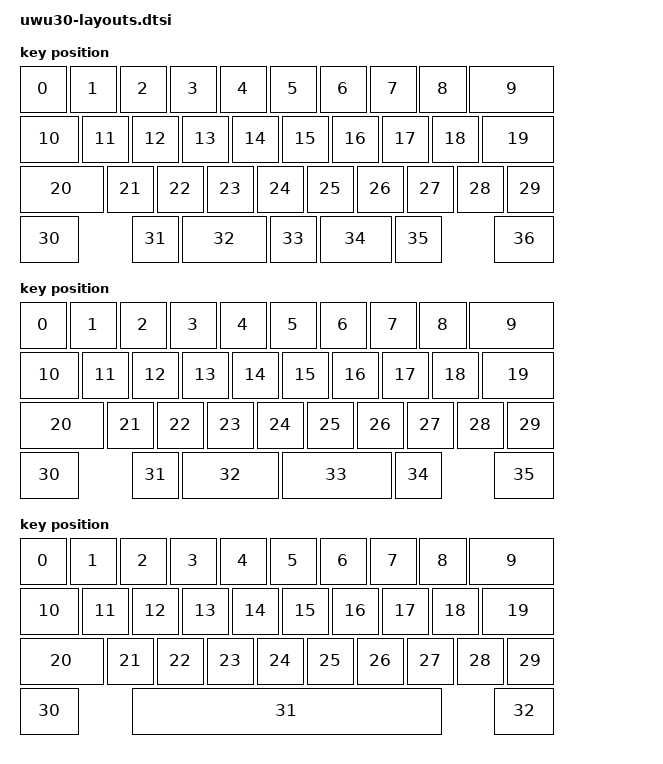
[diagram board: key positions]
/*
 * Copyright (c) 2024 The ZMK Contributors
 *
 * SPDX-License-Identifier: MIT
 */

#include <physical_layouts.dtsi>

/ {
    chosen {
        zmk,physical-layout = &default_layout;
    };

    default_layout: keymap_layout_0 {
        compatible = "zmk,physical-layout";
        display-name = "Default";
        transform = <&default_transform>;

        keys  //                     w   h    x    y     rot   rx   ry
            = <&key_physical_attrs 100 100    0    0       0    0    0>
            , <&key_physical_attrs 100 100  100    0       0    0    0>
            , <&key_physical_attrs 100 100  200    0       0    0    0>
            , <&key_physical_attrs 100 100  300    0       0    0    0>
            , <&key_physical_attrs 100 100  400    0       0    0    0>
            , <&key_physical_attrs 100 100  500    0       0    0    0>
            , <&key_physical_attrs 100 100  600    0       0    0    0>
            , <&key_physical_attrs 100 100  700    0       0    0    0>
            , <&key_physical_attrs 100 100  800    0       0    0    0>
            , <&key_physical_attrs 175 100  900    0       0    0    0>
            , <&key_physical_attrs 125 100    0  100       0    0    0>
            , <&key_physical_attrs 100 100  125  100       0    0    0>
            , <&key_physical_attrs 100 100  225  100       0    0    0>
            , <&key_physical_attrs 100 100  325  100       0    0    0>
            , <&key_physical_attrs 100 100  425  100       0    0    0>
            , <&key_physical_attrs 100 100  525  100       0    0    0>
            , <&key_physical_attrs 100 100  625  100       0    0    0>
            , <&key_physical_attrs 100 100  725  100       0    0    0>
            , <&key_physical_attrs 100 100  825  100       0    0    0>
            , <&key_physical_attrs 150 100  925  100       0    0    0>
            , <&key_physical_attrs 175 100    0  200       0    0    0>
            , <&key_physical_attrs 100 100  175  200       0    0    0>
            , <&key_physical_attrs 100 100  275  200       0    0    0>
            , <&key_physical_attrs 100 100  375  200       0    0    0>
            , <&key_physical_attrs 100 100  475  200       0    0    0>
            , <&key_physical_attrs 100 100  575  200       0    0    0>
            , <&key_physical_attrs 100 100  675  200       0    0    0>
            , <&key_physical_attrs 100 100  775  200       0    0    0>
            , <&key_physical_attrs 100 100  875  200       0    0    0>
            , <&key_physical_attrs 100 100  975  200       0    0    0>
            , <&key_physical_attrs 125 100    0  300       0    0    0>
            , <&key_physical_attrs 100 100  225  300       0    0    0>
            , <&key_physical_attrs 175 100  325  300       0    0    0>
            , <&key_physical_attrs 100 100  500  300       0    0    0>
            , <&key_physical_attrs 150 100  600  300       0    0    0>
            , <&key_physical_attrs 100 100  750  300       0    0    0>
            , <&key_physical_attrs 125 100  950  300       0    0    0>
            ;
    };

    split_space_wkl_layout: keymap_layout_1 {
        compatible = "zmk,physical-layout";
        display-name = "WKL / Split Space";
        transform = <&split_space_wkl_transform>;

        keys  //                     w   h    x    y     rot   rx   ry
            = <&key_physical_attrs 100 100    0    0       0    0    0>
            , <&key_physical_attrs 100 100  100    0       0    0    0>
            , <&key_physical_attrs 100 100  200    0       0    0    0>
            , <&key_physical_attrs 100 100  300    0       0    0    0>
            , <&key_physical_attrs 100 100  400    0       0    0    0>
            , <&key_physical_attrs 100 100  500    0       0    0    0>
            , <&key_physical_attrs 100 100  600    0       0    0    0>
            , <&key_physical_attrs 100 100  700    0       0    0    0>
            , <&key_physical_attrs 100 100  800    0       0    0    0>
            , <&key_physical_attrs 175 100  900    0       0    0    0>
            , <&key_physical_attrs 125 100    0  100       0    0    0>
            , <&key_physical_attrs 100 100  125  100       0    0    0>
            , <&key_physical_attrs 100 100  225  100       0    0    0>
            , <&key_physical_attrs 100 100  325  100       0    0    0>
            , <&key_physical_attrs 100 100  425  100       0    0    0>
            , <&key_physical_attrs 100 100  525  100       0    0    0>
            , <&key_physical_attrs 100 100  625  100       0    0    0>
            , <&key_physical_attrs 100 100  725  100       0    0    0>
            , <&key_physical_attrs 100 100  825  100       0    0    0>
            , <&key_physical_attrs 150 100  925  100       0    0    0>
            , <&key_physical_attrs 175 100    0  200       0    0    0>
            , <&key_physical_attrs 100 100  175  200       0    0    0>
            , <&key_physical_attrs 100 100  275  200       0    0    0>
            , <&key_physical_attrs 100 100  375  200       0    0    0>
            , <&key_physical_attrs 100 100  475  200       0    0    0>
            , <&key_physical_attrs 100 100  575  200       0    0    0>
            , <&key_physical_attrs 100 100  675  200       0    0    0>
            , <&key_physical_attrs 100 100  775  200       0    0    0>
            , <&key_physical_attrs 100 100  875  200       0    0    0>
            , <&key_physical_attrs 100 100  975  200       0    0    0>
            , <&key_physical_attrs 125 100    0  300       0    0    0>
            , <&key_physical_attrs 100 100  225  300       0    0    0>
            , <&key_physical_attrs 200 100  325  300       0    0    0>
            , <&key_physical_attrs 225 100  525  300       0    0    0>
            , <&key_physical_attrs 100 100  750  300       0    0    0>
            , <&key_physical_attrs 125 100  950  300       0    0    0>
            ;
    };

    full_space_wkl_layout: keymap_layout_2 {
        compatible = "zmk,physical-layout";
        display-name = "WKL / Full Space";
        transform = <&full_space_wkl_transform>;

        keys  //                     w   h    x    y     rot   rx   ry
            = <&key_physical_attrs 100 100    0    0       0    0    0>
            , <&key_physical_attrs 100 100  100    0       0    0    0>
            , <&key_physical_attrs 100 100  200    0       0    0    0>
            , <&key_physical_attrs 100 100  300    0       0    0    0>
            , <&key_physical_attrs 100 100  400    0       0    0    0>
            , <&key_physical_attrs 100 100  500    0       0    0    0>
            , <&key_physical_attrs 100 100  600    0       0    0    0>
            , <&key_physical_attrs 100 100  700    0       0    0    0>
            , <&key_physical_attrs 100 100  800    0       0    0    0>
            , <&key_physical_attrs 175 100  900    0       0    0    0>
            , <&key_physical_attrs 125 100    0  100       0    0    0>
            , <&key_physical_attrs 100 100  125  100       0    0    0>
            , <&key_physical_attrs 100 100  225  100       0    0    0>
            , <&key_physical_attrs 100 100  325  100       0    0    0>
            , <&key_physical_attrs 100 100  425  100       0    0    0>
            , <&key_physical_attrs 100 100  525  100       0    0    0>
            , <&key_physical_attrs 100 100  625  100       0    0    0>
            , <&key_physical_attrs 100 100  725  100       0    0    0>
            , <&key_physical_attrs 100 100  825  100       0    0    0>
            , <&key_physical_attrs 150 100  925  100       0    0    0>
            , <&key_physical_attrs 175 100    0  200       0    0    0>
            , <&key_physical_attrs 100 100  175  200       0    0    0>
            , <&key_physical_attrs 100 100  275  200       0    0    0>
            , <&key_physical_attrs 100 100  375  200       0    0    0>
            , <&key_physical_attrs 100 100  475  200       0    0    0>
            , <&key_physical_attrs 100 100  575  200       0    0    0>
            , <&key_physical_attrs 100 100  675  200       0    0    0>
            , <&key_physical_attrs 100 100  775  200       0    0    0>
            , <&key_physical_attrs 100 100  875  200       0    0    0>
            , <&key_physical_attrs 100 100  975  200       0    0    0>
            , <&key_physical_attrs 125 100    0  300       0    0    0>
            , <&key_physical_attrs 625 100  225  300       0    0    0>
            , <&key_physical_attrs 125 100  950  300       0    0    0>
            ;
    };

    split_space_hhkb_layout: keymap_layout_3 {
        compatible = "zmk,physical-layout";
        display-name = "HHKB / Split Space";
        transform = <&split_space_hhkb_transform>;

        keys  //                     w   h    x    y     rot   rx   ry
            = <&key_physical_attrs 100 100    0    0       0    0    0>
            , <&key_physical_attrs 100 100  100    0       0    0    0>
            , <&key_physical_attrs 100 100  200    0       0    0    0>
            , <&key_physical_attrs 100 100  300    0       0    0    0>
            , <&key_physical_attrs 100 100  400    0       0    0    0>
            , <&key_physical_attrs 100 100  500    0       0    0    0>
            , <&key_physical_attrs 100 100  600    0       0    0    0>
            , <&key_physical_attrs 100 100  700    0       0    0    0>
            , <&key_physical_attrs 100 100  800    0       0    0    0>
            , <&key_physical_attrs 175 100  900    0       0    0    0>
            , <&key_physical_attrs 125 100    0  100       0    0    0>
            , <&key_physical_attrs 100 100  125  100       0    0    0>
            , <&key_physical_attrs 100 100  225  100       0    0    0>
            , <&key_physical_attrs 100 100  325  100       0    0    0>
            , <&key_physical_attrs 100 100  425  100       0    0    0>
            , <&key_physical_attrs 100 100  525  100       0    0    0>
            , <&key_physical_attrs 100 100  625  100       0    0    0>
            , <&key_physical_attrs 100 100  725  100       0    0    0>
            , <&key_physical_attrs 100 100  825  100       0    0    0>
            , <&key_physical_attrs 150 100  925  100       0    0    0>
            , <&key_physical_attrs 175 100    0  200       0    0    0>
            , <&key_physical_attrs 100 100  175  200       0    0    0>
            , <&key_physical_attrs 100 100  275  200       0    0    0>
            , <&key_physical_attrs 100 100  375  200       0    0    0>
            , <&key_physical_attrs 100 100  475  200       0    0    0>
            , <&key_physical_attrs 100 100  575  200       0    0    0>
            , <&key_physical_attrs 100 100  675  200       0    0    0>
            , <&key_physical_attrs 100 100  775  200       0    0    0>
            , <&key_physical_attrs 100 100  875  200       0    0    0>
            , <&key_physical_attrs 100 100  975  200       0    0    0>
            , <&key_physical_attrs 100 100  225  300       0    0    0>
            , <&key_physical_attrs 200 100  325  300       0    0    0>
            , <&key_physical_attrs 225 100  525  300       0    0    0>
            , <&key_physical_attrs 100 100  750  300       0    0    0>
            ;
    };

    full_space_hhkb_layout: keymap_layout_4 {
        compatible = "zmk,physical-layout";
        display-name = "HHKB / Full Space";
        transform = <&full_space_hhkb_transform>;

        keys  //                     w   h    x    y     rot   rx   ry
            = <&key_physical_attrs 100 100    0    0       0    0    0>
            , <&key_physical_attrs 100 100  100    0       0    0    0>
            , <&key_physical_attrs 100 100  200    0       0    0    0>
            , <&key_physical_attrs 100 100  300    0       0    0    0>
            , <&key_physical_attrs 100 100  400    0       0    0    0>
            , <&key_physical_attrs 100 100  500    0       0    0    0>
            , <&key_physical_attrs 100 100  600    0       0    0    0>
            , <&key_physical_attrs 100 100  700    0       0    0    0>
            , <&key_physical_attrs 100 100  800    0       0    0    0>
            , <&key_physical_attrs 175 100  900    0       0    0    0>
            , <&key_physical_attrs 125 100    0  100       0    0    0>
            , <&key_physical_attrs 100 100  125  100       0    0    0>
            , <&key_physical_attrs 100 100  225  100       0    0    0>
            , <&key_physical_attrs 100 100  325  100       0    0    0>
            , <&key_physical_attrs 100 100  425  100       0    0    0>
            , <&key_physical_attrs 100 100  525  100       0    0    0>
            , <&key_physical_attrs 100 100  625  100       0    0    0>
            , <&key_physical_attrs 100 100  725  100       0    0    0>
            , <&key_physical_attrs 100 100  825  100       0    0    0>
            , <&key_physical_attrs 150 100  925  100       0    0    0>
            , <&key_physical_attrs 175 100    0  200       0    0    0>
            , <&key_physical_attrs 100 100  175  200       0    0    0>
            , <&key_physical_attrs 100 100  275  200       0    0    0>
            , <&key_physical_attrs 100 100  375  200       0    0    0>
            , <&key_physical_attrs 100 100  475  200       0    0    0>
            , <&key_physical_attrs 100 100  575  200       0    0    0>
            , <&key_physical_attrs 100 100  675  200       0    0    0>
            , <&key_physical_attrs 100 100  775  200       0    0    0>
            , <&key_physical_attrs 100 100  875  200       0    0    0>
            , <&key_physical_attrs 100 100  975  200       0    0    0>
            , <&key_physical_attrs 625 100  225  300       0    0    0>
            ;
    };

    position_map {
        compatible = "zmk,physical-layout-position-map";
        default_map {
            physical-layout = <&default_layout>;
            positions
                = < 30 31 32 33 34 35 36 >;
        };

		/* Note: positions 0-36 are actually on the PCB.
		 * Positions 37 and above are placeholders which will hopefully by used and restored when switching between layouts.
		 */
        split_space_wkl_map {
            physical-layout = <&split_space_wkl_layout>;
            positions
                = < 30 31 32 40 33 34 35 >;
        };

        full_space_wkl_map {
            physical-layout = <&full_space_wkl_layout>;
            positions
                = < 30 38 31 40 41 42 32 >;
        };

        split_space_hhkb_map {
            physical-layout = <&split_space_hhkb_layout>;
            positions
                = < 37 30 31 40 32 33 43 >;
        };

        full_space_hhkb_map {
            physical-layout = <&full_space_hhkb_layout>;
            positions
                = < 37 38 30 40 41 42 43 >;
        };
    };
};
